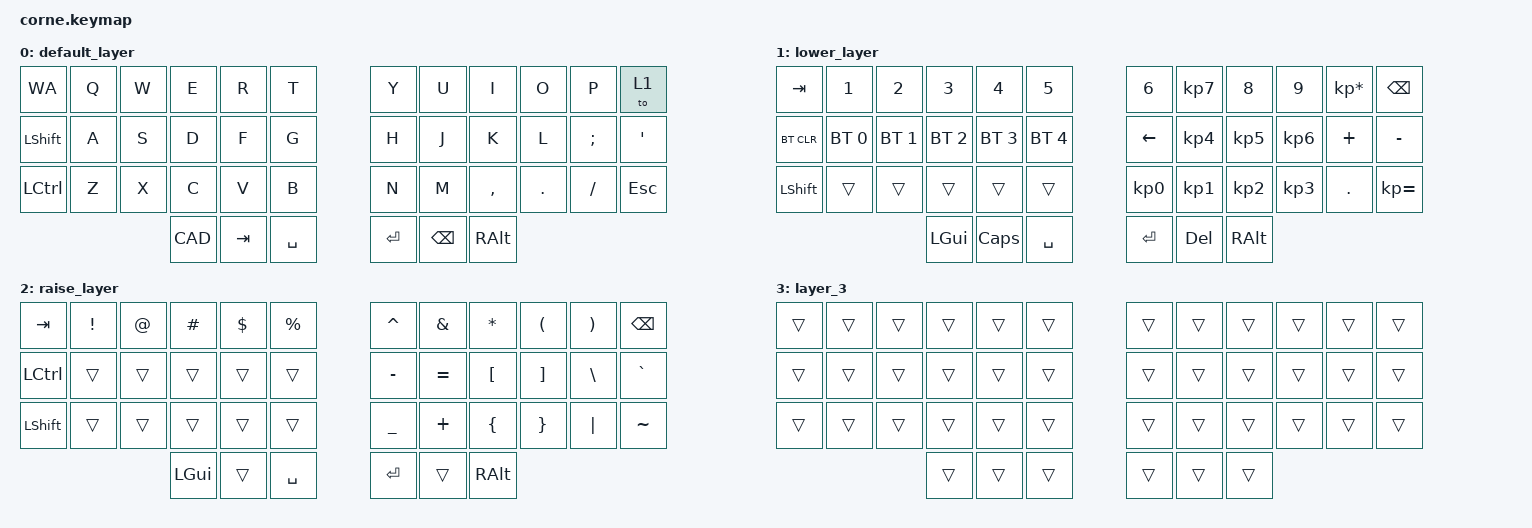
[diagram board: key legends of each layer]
/*
 * Copyright (c) 2020 The ZMK Contributors
 *
 * SPDX-License-Identifier: MIT
 */

#include <behaviors.dtsi>
#include <dt-bindings/zmk/bt.h>
#include <dt-bindings/zmk/keys.h>

/ {
    macros {
        CAD: CAD {
            compatible = "zmk,behavior-macro";
            #binding-cells = <0>;
            bindings = <&kp LC(LA(DEL))>, <&macro_press>;

            label = "CAD";
        };

        WA: WA {
            compatible = "zmk,behavior-macro";
            #binding-cells = <0>;
            bindings = <&none &kp LS(W) &kp LS(A)>;
            label = "WA";
        };
    };

    keymap {
        compatible = "zmk,keymap";

        default_layer {
            // -----------------------------------------------------------------------------------------
            // |  TAB |  Q  |  W  |  E  |  R  |  T  |   |  Y  |  U   |  I  |  O  |  P  | BSPC |
            // | CTRL |  A  |  S  |  D  |  F  |  G  |   |  H  |  J   |  K  |  L  |  ;  |  '   |
            // | SHFT |  Z  |  X  |  C  |  V  |  B  |   |  N  |  M   |  ,  |  .  |  /  | ESC  |
            //                    | GUI | LWR | SPC |   | ENT | RSE  | ALT |

            bindings = <
&WA               &kp Q  &kp W  &kp E  &kp R    &kp T        &kp Y    &kp U     &kp I      &kp O    &kp P     &to 1
&kp LEFT_SHIFT    &kp A  &kp S  &kp D  &kp F    &kp G        &kp H    &kp J     &kp K      &kp L    &kp SEMI  &kp SQT
&kp LEFT_CONTROL  &kp Z  &kp X  &kp C  &kp V    &kp B        &kp N    &kp M     &kp COMMA  &kp DOT  &kp FSLH  &kp ESC
                                &CAD   &kp TAB  &kp SPACE    &kp RET  &kp BSPC  &kp RALT
            >;
        };

        lower_layer {
            // -----------------------------------------------------------------------------------------
            // |  TAB |  1  |  2  |  3  |  4  |  5  |   |  6  |  7  |  8  |  9  |  0  | BSPC |
            // | BTCLR| BT1 | BT2 | BT3 | BT4 | BT5 |   | LFT | DWN |  UP | RGT |     |      |
            // | SHFT |     |     |     |     |     |   |     |     |     |     |     |      |
            //                    | GUI |     | SPC |   | ENT |     | ALT |

            bindings = <
&kp TAB     &kp N1        &kp N2        &kp N3        &kp N4        &kp N5          &kp N6     &kp KP_N7        &kp N8           &kp N9           &kp KP_MULTIPLY  &kp BSPC
&bt BT_CLR  &bt BT_SEL 0  &bt BT_SEL 1  &bt BT_SEL 2  &bt BT_SEL 3  &bt BT_SEL 4    &kp LEFT   &kp KP_NUMBER_4  &kp KP_NUMBER_5  &kp KP_NUMBER_6  &kp PLUS         &kp MINUS
&kp LSHFT   &trans        &trans        &trans        &trans        &trans          &kp KP_N0  &kp KP_N1        &kp KP_N2        &kp KP_NUMBER_3  &kp PERIOD       &kp KP_EQUAL
                                        &kp LGUI      &kp CAPS      &kp SPACE       &kp RET    &kp DEL          &kp RALT
            >;
        };

        raise_layer {
            // -----------------------------------------------------------------------------------------
            // |  TAB |  !  |  @  |  #  |  $  |  %  |   |  ^  |  &  |  *  |  (  |  )  | BSPC |
            // | CTRL |     |     |     |     |     |   |  -  |  =  |  [  |  ]  |  \  |  `   |
            // | SHFT |     |     |     |     |     |   |  _  |  +  |  {  |  }  | "|" |  ~   |
            //                    | GUI |     | SPC |   | ENT |     | ALT |

            bindings = <
&kp TAB    &kp EXCL  &kp AT  &kp HASH  &kp DLLR  &kp PRCNT    &kp CARET  &kp AMPS   &kp ASTRK  &kp LPAR  &kp RPAR  &kp BSPC
&kp LCTRL  &trans    &trans  &trans    &trans    &trans       &kp MINUS  &kp EQUAL  &kp LBKT   &kp RBKT  &kp BSLH  &kp GRAVE
&kp LSHFT  &trans    &trans  &trans    &trans    &trans       &kp UNDER  &kp PLUS   &kp LBRC   &kp RBRC  &kp PIPE  &kp TILDE
                             &kp LGUI  &trans    &kp SPACE    &kp RET    &trans     &kp RALT
            >;
        };

        layer_3 {
            bindings = <
&trans  &trans  &trans  &trans  &trans  &trans    &trans  &trans  &trans  &trans  &trans  &trans
&trans  &trans  &trans  &trans  &trans  &trans    &trans  &trans  &trans  &trans  &trans  &trans
&trans  &trans  &trans  &trans  &trans  &trans    &trans  &trans  &trans  &trans  &trans  &trans
                        &trans  &trans  &trans    &trans  &trans  &trans
            >;
        };
    };
};
